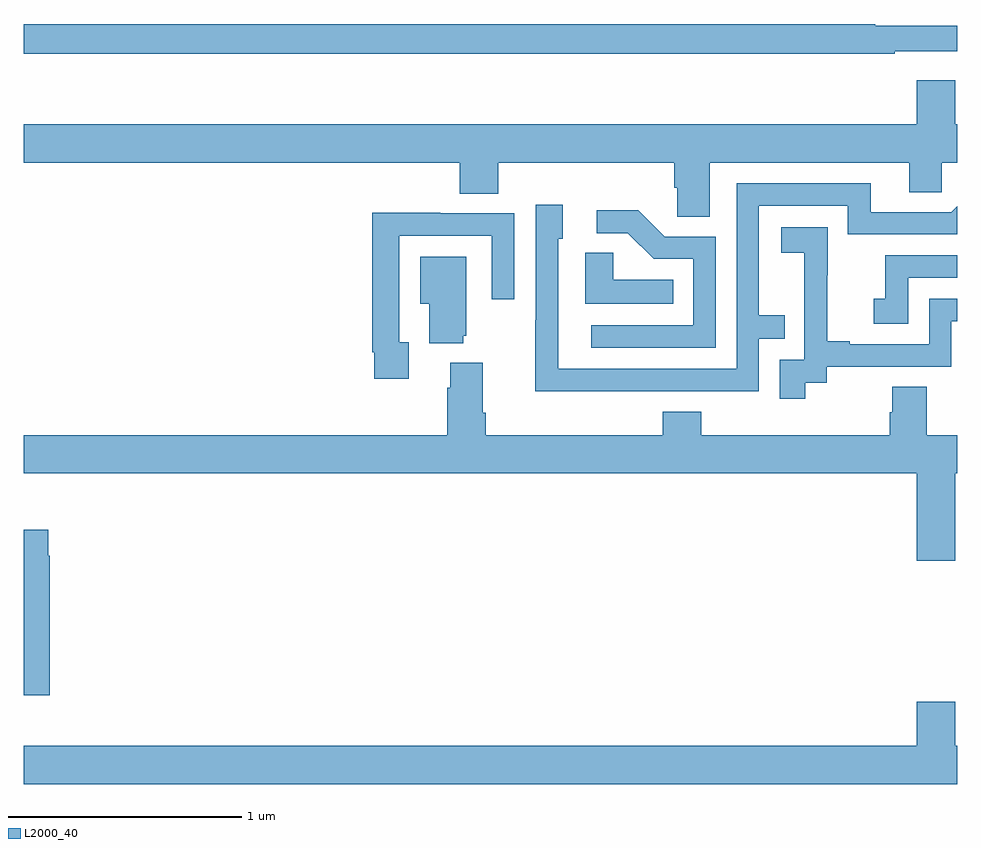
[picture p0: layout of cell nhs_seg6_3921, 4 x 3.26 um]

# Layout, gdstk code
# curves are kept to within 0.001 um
import gdstk
lib = gdstk.Library(unit=1e-6, precision=1e-09)
def P(c, l, *ps):  # polygons
    for p in ps: c.add(gdstk.Polygon(p, *l))
L2000_40 = (2000, 40)

nhs_seg6_3921 = lib.new_cell('nhs_seg6_3921')
P(nhs_seg6_3921, L2000_40, [(344.732,993.102),(345,993.102),(345,993.211),(344.65,993.211),(344.65,993.218),(341,993.218),(341,993.09),(344.732,993.09)],
  [(343.939,992.624),(344.795,992.624),(344.795,992.497),(344.934,992.497),(344.934,992.624),(345,992.624),(345,992.788),(344.992,992.788),(344.992,992.977),(344.828,992.977),(344.828,992.788),(341,992.788),(341,992.624),(342.869,992.624),(342.869,992.491),(343.034,992.491),(343.034,992.624),(343.787,992.624),(343.787,992.515),(343.8,992.515),(343.8,992.392),(343.939,992.392)],
  [(343.655,991.644),(344.151,991.644),(344.151,991.869),(344.261,991.869),(344.261,991.97),(344.151,991.97),(344.151,992.439),(344.532,992.439),(344.532,992.316),(345,992.316),(345,992.436),(344.976,992.412),(344.629,992.412),(344.629,992.535),(344.055,992.535),(344.055,991.74),(343.29,991.74),(343.29,992.298),(343.309,992.298),(343.309,992.443),(343.194,992.443),(343.194,991.949),(343.192,991.949),(343.192,991.643)],
  [(343.965,992.307),(343.746,992.307),(343.633,992.42),(343.455,992.42),(343.455,992.322),(343.589,992.322),(343.7,992.211),(343.869,992.211),(343.869,991.926),(343.431,991.926),(343.431,991.83),(343.965,991.83)],
  [(342.649,991.854),(342.609,991.854),(342.609,992.31),(343.005,992.31),(343.005,992.037),(343.101,992.037),(343.101,992.406),(342.785,992.406),(342.785,992.408),(342.493,992.408),(342.493,991.81),(342.501,991.81),(342.501,991.698),(342.649,991.698)],
  [(344.35,991.681),(344.442,991.681),(344.442,991.749),(344.976,991.749),(344.976,991.944),(345,991.944),(345,992.04),(344.88,992.04),(344.88,991.845),(344.539,991.845),(344.539,991.858),(344.444,991.858),(344.444,992.141),(344.445,992.141),(344.445,992.347),(344.247,992.347),(344.247,992.237),(344.345,992.237),(344.345,992.009),(344.346,992.009),(344.346,991.779),(344.241,991.779),(344.241,991.611),(344.35,991.611)],
  [(343.784,992.122),(343.527,992.122),(343.527,992.237),(343.406,992.237),(343.406,992.018),(343.784,992.018)],
  [(344.79,992.13),(345,992.13),(345,992.226),(344.692,992.226),(344.692,992.041),(344.643,992.041),(344.643,991.932),(344.79,991.932)],
  [(342.884,991.881),(342.895,991.881),(342.895,992.221),(342.698,992.221),(342.698,992.018),(342.737,992.018),(342.737,991.85),(342.884,991.85)],
  [(344.992,991.292),(345,991.292),(345,991.456),(344.871,991.456),(344.871,991.664),(344.723,991.664),(344.723,991.554),(344.711,991.554),(344.711,991.456),(343.904,991.456),(343.904,991.555),(343.739,991.555),(343.739,991.456),(342.98,991.456),(342.98,991.552),(342.967,991.552),(342.967,991.765),(342.827,991.765),(342.827,991.658),(342.815,991.658),(342.815,991.456),(341,991.456),(341,991.292),(344.828,991.292),(344.828,990.918),(344.992,990.918)],
  [(341.111,990.938),(341.104,990.938),(341.104,991.051),(341,991.051),(341,990.341),(341.111,990.341)],
  [(345,990.124),(344.992,990.124),(344.992,990.313),(344.828,990.313),(344.828,990.124),(341,990.124),(341,989.96),(345,989.96)])

lib.write_gds('nhs_seg6_3921.gds')
